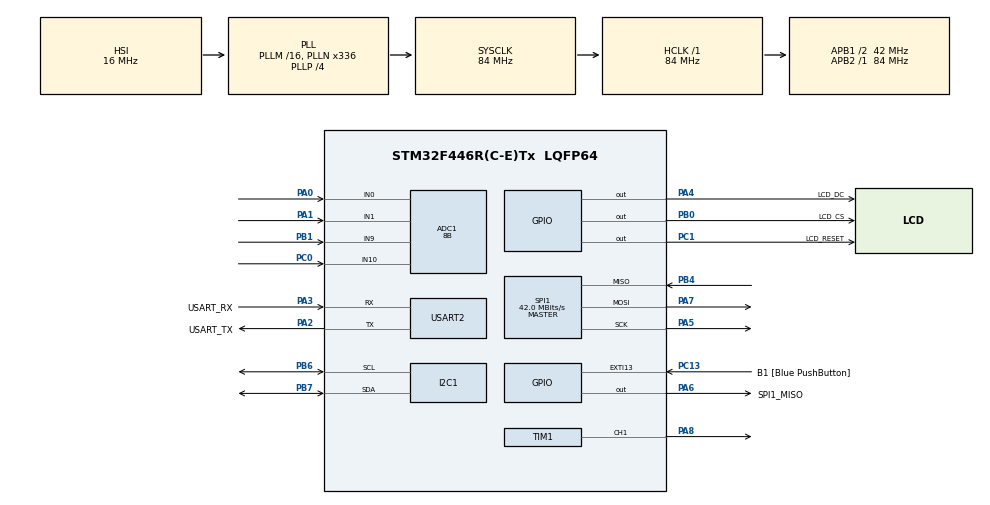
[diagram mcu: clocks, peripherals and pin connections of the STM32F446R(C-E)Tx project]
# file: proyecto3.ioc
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ADC1.Channel-5\#ChannelRegularConversion=ADC_CHANNEL_0
ADC1.Channel-6\#ChannelRegularConversion=ADC_CHANNEL_1
ADC1.Channel-7\#ChannelRegularConversion=ADC_CHANNEL_9
ADC1.Channel-8\#ChannelRegularConversion=ADC_CHANNEL_10
ADC1.NbrOfConversion=4
ADC1.NbrOfConversionFlag=1
ADC1.Rank-5\#ChannelRegularConversion=1
ADC1.Rank-6\#ChannelRegularConversion=2
ADC1.Rank-7\#ChannelRegularConversion=3
ADC1.Rank-8\#ChannelRegularConversion=4
ADC1.Resolution=ADC_RESOLUTION_8B
ADC1.SamplingTime-5\#ChannelRegularConversion=ADC_SAMPLETIME_15CYCLES
ADC1.SamplingTime-6\#ChannelRegularConversion=ADC_SAMPLETIME_15CYCLES
ADC1.SamplingTime-7\#ChannelRegularConversion=ADC_SAMPLETIME_15CYCLES
ADC1.SamplingTime-8\#ChannelRegularConversion=ADC_SAMPLETIME_15CYCLES
ADC1.ScanConvMode=ENABLE
ADC1.master=1
Dma.ADC1.1.Direction=DMA_PERIPH_TO_MEMORY
Dma.ADC1.1.FIFOMode=DMA_FIFOMODE_DISABLE
Dma.ADC1.1.Instance=DMA2_Stream0
Dma.ADC1.1.MemDataAlignment=DMA_MDATAALIGN_BYTE
Dma.ADC1.1.MemInc=DMA_MINC_ENABLE
Dma.ADC1.1.Mode=DMA_NORMAL
Dma.ADC1.1.PeriphDataAlignment=DMA_PDATAALIGN_BYTE
Dma.ADC1.1.PeriphInc=DMA_PINC_DISABLE
Dma.ADC1.1.Priority=DMA_PRIORITY_LOW
Dma.Request0=TIM1_CH1
Dma.Request1=ADC1
Dma.TIM1_CH1.0.Direction=DMA_MEMORY_TO_PERIPH
Dma.TIM1_CH1.0.FIFOMode=DMA_FIFOMODE_DISABLE
Dma.TIM1_CH1.0.Instance=DMA2_Stream1
Dma.TIM1_CH1.0.MemDataAlignment=DMA_MDATAALIGN_HALFWORD
Dma.TIM1_CH1.0.MemInc=DMA_MINC_ENABLE
Dma.TIM1_CH1.0.Mode=DMA_NORMAL
Dma.TIM1_CH1.0.PeriphDataAlignment=DMA_PDATAALIGN_HALFWORD
Dma.TIM1_CH1.0.PeriphInc=DMA_PINC_DISABLE
Dma.TIM1_CH1.0.Priority=DMA_PRIORITY_HIGH
I2C1.OwnAddress=0x27
Mcu.Family=STM32F4
Mcu.Name=STM32F446R(C-E)Tx
Mcu.Package=LQFP64
NVIC.DMA2_Stream0_IRQn=true\:0\:0\:false\:false\:true\:false\:true\:true
NVIC.DMA2_Stream1_IRQn=true\:0\:0\:false\:false\:true\:false\:true\:true
NVIC.I2C1_ER_IRQn=true\:0\:0\:false\:false\:true\:true\:true\:true
NVIC.I2C1_EV_IRQn=true\:0\:0\:false\:false\:true\:true\:true\:true
NVIC.PriorityGroup=NVIC_PRIORITYGROUP_0
PA0-WKUP.Signal=ADCx_IN0
PA1.Signal=ADCx_IN1
PA13.GPIO_Label=TMS
PA13.Mode=Serial_Wire
PA13.Signal=SYS_JTMS-SWDIO
PA14.GPIO_Label=TCK
PA14.Mode=Serial_Wire
PA14.Signal=SYS_JTCK-SWCLK
PA2.GPIO_Label=USART_TX
PA2.Mode=Asynchronous
PA2.Signal=USART2_TX
PA3.GPIO_Label=USART_RX
PA3.Mode=Asynchronous
PA3.Signal=USART2_RX
PA4.GPIO_Label=LCD_DC
PA4.Signal=GPIO_Output
PA5.Mode=Full_Duplex_Master
PA5.Signal=SPI1_SCK
PA6.GPIO_Label=SPI1_MISO
PA6.Signal=GPIO_Output
PA7.Mode=Full_Duplex_Master
PA7.Signal=SPI1_MOSI
PA8.Signal=S_TIM1_CH1
PB0.GPIO_Label=LCD_CS
PB0.Signal=GPIO_Output
PB1.Signal=ADCx_IN9
PB3.GPIO_Label=SWO
PB3.Signal=SYS_JTDO-SWO
PB4.Mode=Full_Duplex_Master
PB4.Signal=SPI1_MISO
PB6.GPIO_Pu=GPIO_PULLUP
PB6.Mode=I2C
PB6.Signal=I2C1_SCL
PB7.GPIO_Pu=GPIO_PULLUP
PB7.Mode=I2C
PB7.Signal=I2C1_SDA
PC0.Signal=ADCx_IN10
PC1.GPIO_Label=LCD_RESET
PC1.Signal=GPIO_Output
PC13.GPIO_Label=B1 [Blue PushButton]
PC13.GPIO_ModeDefaultEXTI=GPIO_MODE_IT_FALLING
PC13.Signal=GPXTI13
PC14-OSC32_IN.Mode=LSE-External-Oscillator
PC14-OSC32_IN.Signal=RCC_OSC32_IN
PC15-OSC32_OUT.Mode=LSE-External-Oscillator
PC15-OSC32_OUT.Signal=RCC_OSC32_OUT
PH0-OSC_IN.Mode=HSE-External-Oscillator
PH0-OSC_IN.Signal=RCC_OSC_IN
PH1-OSC_OUT.Mode=HSE-External-Oscillator
PH1-OSC_OUT.Signal=RCC_OSC_OUT
ProjectManager.HeapSize=0x200
ProjectManager.StackSize=0x400
ProjectManager.TargetToolchain=STM32CubeIDE
RCC.48MHZClocksFreq_Value=84000000
RCC.AHBFreq_Value=84000000
RCC.APB1CLKDivider=RCC_HCLK_DIV2
RCC.APB1Freq_Value=42000000
RCC.APB1TimFreq_Value=84000000
RCC.APB2Freq_Value=84000000
RCC.APB2TimFreq_Value=84000000
RCC.CortexFreq_Value=84000000
RCC.FLatency-AdvancedSettings=FLASH_LATENCY_2
RCC.HCLKFreq_Value=84000000
RCC.HSE_VALUE=8000000
RCC.HSI_VALUE=16000000
RCC.PLLN=336
RCC.PLLP=RCC_PLLP_DIV4
RCC.SYSCLKFreq_VALUE=84000000
RCC.SYSCLKSource=RCC_SYSCLKSOURCE_PLLCLK
RCC.USBFreq_Value=168000000
RCC.VCOOutputFreq_Value=336000000
SH.ADCx_IN0.0=ADC1_IN0,IN0
SH.ADCx_IN1.0=ADC1_IN1,IN1
SH.ADCx_IN10.0=ADC1_IN10,IN10
SH.ADCx_IN9.0=ADC1_IN9,IN9
SH.S_TIM1_CH1.0=TIM1_CH1,PWM Generation1 CH1
SPI1.CalculateBaudRate=42.0 MBits/s
SPI1.Direction=SPI_DIRECTION_2LINES
SPI1.Mode=SPI_MODE_MASTER
SPI1.VirtualType=VM_MASTER
TIM1.Channel-PWM\ Generation1\ CH1=TIM_CHANNEL_1
TIM1.Period=105-1
USART2.VirtualMode=VM_ASYNC
VP_TIM1_VS_ClockSourceINT.Mode=Internal
board=NUCLEO-F446RE

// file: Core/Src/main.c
/* USER CODE BEGIN Header */
/**
  ******************************************************************************
  * @file           : main.c
  * @brief          : Main program body
  ******************************************************************************
  * @attention
  *
  * Copyright (c) 2026 STMicroelectronics.
  * All rights reserved.
  *
  * This software is licensed under terms that can be found in the LICENSE file
  * in the root directory of this software component.
  * If no LICENSE file comes with this software, it is provided AS-IS.
  *
  ******************************************************************************
  */
/* USER CODE END Header */
#include "main.h"

/* USER CODE BEGIN Includes */
#include "ili9341.h"
#include "Neopixel.h"
#include "bitmaps.h"
#include <stdint.h>
#include <string.h>
#include <stdio.h>

/* USER CODE END Includes */

/* USER CODE BEGIN PD */
#define NUM_SPOTS 8
#define SPOTS_PER_ROW 4

#define CAR_W 48
#define CAR_H 80

#define GRID_X 5
#define GRID_Y 23
#define CELL_W 56
#define CELL_H 95

#define INDICATOR_X 247
#define INDICATOR_Y 70

#define BG_COLOR 0x10A2
#define ASPHALT_COLOR 0x528A
#define LINE_COLOR 0xFD20
#define TEXT_COLOR 0xFFFF
#define DIGIT_COLOR 0x07E0
#define DIGIT_BG 0x10A2

#define INDLED_G 0x07E0
#define INDLED_R 0xF800
#define INDLED_B 0x528A

#define INDLED_W 7
#define INDLED_H 7

/* USER CODE END PD */

ADC_HandleTypeDef hadc1;
DMA_HandleTypeDef hdma_adc1;

I2C_HandleTypeDef hi2c1;

SPI_HandleTypeDef hspi1;

TIM_HandleTypeDef htim1;
DMA_HandleTypeDef hdma_tim1_ch1;

UART_HandleTypeDef huart2;

/* USER CODE BEGIN PV */
uint8_t lecturas_sensores[4];
float brilloled = 50.0f;

static uint8_t spots_now[NUM_SPOTS]    = {0};
static uint8_t spots_drawn[NUM_SPOTS]  = {0xFF, 0xFF, 0xFF, 0xFF, 0xFF, 0xFF, 0xFF, 0xFF};
static uint8_t avail_drawn = 0xFF;

// Buffers para I2C
uint8_t aTxBuffer[4] = {0, 0, 0, 0}; // Estado de los 4 parqueos (0=Libre, 1=Ocupado)
uint8_t aRxBuffer[5] = {0};          // [0]=cmd ('S' o 'N'), [1..4]=estados del vecino
volatile uint8_t vecino_spots[4] = {0, 0, 0, 0}; // Spots del STM_7seg → idx 0..3 del TFT

/* USER CODE END PV */

void SystemClock_Config(void);
static void MX_GPIO_Init(void);
static void MX_DMA_Init(void);
static void MX_TIM1_Init(void);
static void MX_USART2_UART_Init(void);
static void MX_SPI1_Init(void);
static void MX_ADC1_Init(void);
static void MX_I2C1_Init(void);

/* USER CODE BEGIN 0 */
#define D_W 50      // Ancho de digito
#define D_H 90      // ALtura de digito
#define D_T 7       // Grosor de segmentos

static const uint8_t seg_table[10] = {
    0x3F, 0x06, 0x5B, 0x4F, 0x66,  // 0..4
    0x6D, 0x7D, 0x07, 0x7F, 0x6F   // 5..9
};

static void DrawStall(int idx)
{
    int row = idx / SPOTS_PER_ROW;
    int col = idx % SPOTS_PER_ROW;
    int x   = GRID_X + col * CELL_W;
    int y   = GRID_Y + row * CELL_H;

    if (spots_now[idx]) {
        // Parqueo ocupado con carro
    	if (idx >= 4){
			LCD_Sprite(x + (CELL_W - CAR_W)/2, y + (CELL_H - CAR_H)/2 + 10,
					CAR_W, CAR_H, car, 1, 0, 1, 0);
			FillRect(x + (CELL_W - INDLED_W)/2 - 5, y + 7,
					INDLED_W, INDLED_H, INDLED_B);
			FillRect(x + (CELL_W - INDLED_W)/2 + 5, y + 7,
					INDLED_W, INDLED_H, INDLED_R);
    	}else{
    		LCD_Sprite(x + (CELL_W - CAR_W)/2, y + (CELL_H - CAR_H)/2,
    				CAR_W, CAR_H, car, 1, 0, 0, 0);
			FillRect(x + (CELL_W - INDLED_W)/2 - 5, y + (CELL_H - INDLED_H) + 2,
					INDLED_W, INDLED_H, INDLED_B);
			FillRect(x + (CELL_W - INDLED_W)/2 + 5, y + (CELL_H - INDLED_H) + 2,
					INDLED_W, INDLED_H, INDLED_R);
    	}
    } else {
        // Rectangulo de parqueo libre
    	if (idx >= 4){
			FillRect(x + (CELL_W - CAR_W)/2, y + (CELL_H - CAR_H)/2 + 10,
					 CAR_W, CAR_H, ASPHALT_COLOR);

			FillRect(x + (CELL_W - INDLED_W)/2 - 5, y + 7,
					INDLED_W, INDLED_H, INDLED_G);
			FillRect(x + (CELL_W - INDLED_W)/2 + 5, y + 7,
					INDLED_W, INDLED_H, INDLED_B);
    	}else{
    		FillRect(x + (CELL_W - CAR_W)/2, y + (CELL_H - CAR_H)/2,
					 CAR_W, CAR_H, ASPHALT_COLOR);

			FillRect(x + (CELL_W - INDLED_W)/2 - 5, y + (CELL_H - INDLED_H) + 2,
					INDLED_W, INDLED_H, INDLED_G);
			FillRect(x + (CELL_W - INDLED_W)/2 + 5, y + (CELL_H - INDLED_H) + 2,
					INDLED_W, INDLED_H, INDLED_B);
    	}
    }
}

static void Draw7Seg(uint8_t digit)
{
    if (digit > 9) digit = 0;
    uint8_t s = seg_table[digit];
    int x = INDICATOR_X, y = INDICATOR_Y;
    int half = (D_H - 3*D_T) / 2;

    FillRect(x, y, D_W, D_H, DIGIT_BG);  // Eliminar anterior
    if (s & 0x01) FillRect(x+D_T,        y,                  D_W-2*D_T, D_T,  DIGIT_COLOR); // a
    if (s & 0x02) FillRect(x+D_W-D_T,    y+D_T,              D_T,       half, DIGIT_COLOR); // b
    if (s & 0x04) FillRect(x+D_W-D_T,    y+D_H/2+D_T/2,      D_T,       half, DIGIT_COLOR); // c
    if (s & 0x08) FillRect(x+D_T,        y+D_H-D_T,          D_W-2*D_T, D_T,  DIGIT_COLOR); // d
    if (s & 0x10) FillRect(x,            y+D_H/2+D_T/2,      D_T,       half, DIGIT_COLOR); // e
    if (s & 0x20) FillRect(x,            y+D_T,              D_T,       half, DIGIT_COLOR); // f
    if (s & 0x40) FillRect(x+D_T,        y+D_H/2-D_T/2,      D_W-2*D_T, D_T,  DIGIT_COLOR); // g
}

void Parking_DrawStaticUI(void)
{
    LCD_Clear(BG_COLOR);
    LCD_Print("Parqueo-matic", 70, 6, 1, TEXT_COLOR, BG_COLOR);
    LCD_Print("Libres", INDICATOR_X, INDICATOR_Y - 15, 1, TEXT_COLOR, BG_COLOR);

    // Separadores de parqueos
    for (int c = 1; c < SPOTS_PER_ROW; c++) {
        int x = GRID_X + c * CELL_W - 2;
        V_line(x+1, GRID_Y + 5, 2 * CELL_H, LINE_COLOR);
    }
}

void Parking_SetSpot(int idx, int occupied)
{
    if (idx < 0 || idx >= NUM_SPOTS) return;
    spots_now[idx] = occupied ? 1 : 0;
}

void Parking_Update(void)
{
    uint8_t free_count = 0;
    for (int i = 0; i < NUM_SPOTS; i++) {
        if (!spots_now[i]) free_count++;

        if (spots_now[i] != spots_drawn[i]) {
            DrawStall(i);
            spots_drawn[i] = spots_now[i];
        }
    }
    if (free_count != avail_drawn) {
        Draw7Seg(free_count);
        avail_drawn = free_count;
    }
}
/* USER CODE END 0 */

int main(void)
{

  /* MCU Configuration--------------------------------------------------------*/

  /* Reset of all peripherals, Initializes the Flash interface and the Systick. */
  HAL_Init();

  /* Configure the system clock */
  SystemClock_Config();

  /* Initialize all configured peripherals */
  MX_GPIO_Init();
  MX_DMA_Init();
  MX_TIM1_Init();
  MX_USART2_UART_Init();
  MX_SPI1_Init();
  MX_ADC1_Init();
  MX_I2C1_Init();
  /* USER CODE BEGIN 2 */
  HAL_ADC_Start_DMA(&hadc1, (uint32_t*)lecturas_sensores, 4);

  setBrightness(25);
  pixelClear();
  pixelShow();
  //HAL_Delay(1000);
  LCD_Init();
  LCD_Clear(0x10a2);
  LCD_Print("Parqueo-matic", 100, 6, 1, 0xFFFF, 0x10a2);

  HAL_I2C_EnableListen_IT(&hi2c1);

  Parking_DrawStaticUI();
  //HAL_Delay(1000);
  /* USER CODE END 2 */

  /* Infinite loop */
  /* USER CODE BEGIN WHILE */
  while (1)
  {
	  HAL_ADC_Start_DMA(&hadc1, (uint32_t*)lecturas_sensores, 4);
	  HAL_Delay(20);
	  HAL_ADC_Stop_DMA(&hadc1);
	  for(int i = 0; i < 4; i++) {
			if(lecturas_sensores[i] < 230) {
				// Valor menor a 230 -> Color VERDE
				setPixelColor(i, 0, 255, 0);
				aTxBuffer[i] = 0; // Se envía al ESP32 que está libre
			} else {
				// Valor mayor o igual a 230 -> Color ROJO
				setPixelColor(i, 255, 0, 0);
				aTxBuffer[i] = 1; // Se envía al ESP32 que está ocupado
			}
		}
	  pixelShow();

	  for (int i = 0; i < 4; i++){
		  Parking_SetSpot(i+4, lecturas_sensores[i] > 230);
	  }

	  for (int i = 0; i < 4; i++){
		  Parking_SetSpot(i, vecino_spots[i]);
	  }

	  Parking_Update();
	  HAL_Delay(50);
    /* USER CODE END WHILE */

  }
}

void SystemClock_Config(void)
{
  RCC_OscInitTypeDef RCC_OscInitStruct = {0};
  RCC_ClkInitTypeDef RCC_ClkInitStruct = {0};

  /** Configure the main internal regulator output voltage
  */
  __HAL_RCC_PWR_CLK_ENABLE();
  __HAL_PWR_VOLTAGESCALING_CONFIG(PWR_REGULATOR_VOLTAGE_SCALE3);

  /** Initializes the RCC Oscillators according to the specified parameters
  * in the RCC_OscInitTypeDef structure.
  */
  RCC_OscInitStruct.OscillatorType = RCC_OSCILLATORTYPE_HSI;
  RCC_OscInitStruct.HSIState = RCC_HSI_ON;
  RCC_OscInitStruct.HSICalibrationValue = RCC_HSICALIBRATION_DEFAULT;
  RCC_OscInitStruct.PLL.PLLState = RCC_PLL_ON;
  RCC_OscInitStruct.PLL.PLLSource = RCC_PLLSOURCE_HSI;
  RCC_OscInitStruct.PLL.PLLM = 16;
  RCC_OscInitStruct.PLL.PLLN = 336;
  RCC_OscInitStruct.PLL.PLLP = RCC_PLLP_DIV4;
  RCC_OscInitStruct.PLL.PLLQ = 2;
  RCC_OscInitStruct.PLL.PLLR = 2;
  if (HAL_RCC_OscConfig(&RCC_OscInitStruct) != HAL_OK)
  {
    Error_Handler();
  }

  /** Initializes the CPU, AHB and APB buses clocks
  */
  RCC_ClkInitStruct.ClockType = RCC_CLOCKTYPE_HCLK|RCC_CLOCKTYPE_SYSCLK
                              |RCC_CLOCKTYPE_PCLK1|RCC_CLOCKTYPE_PCLK2;
  RCC_ClkInitStruct.SYSCLKSource = RCC_SYSCLKSOURCE_PLLCLK;
  RCC_ClkInitStruct.AHBCLKDivider = RCC_SYSCLK_DIV1;
  RCC_ClkInitStruct.APB1CLKDivider = RCC_HCLK_DIV2;
  RCC_ClkInitStruct.APB2CLKDivider = RCC_HCLK_DIV1;

  if (HAL_RCC_ClockConfig(&RCC_ClkInitStruct, FLASH_LATENCY_2) != HAL_OK)
  {
    Error_Handler();
  }
}

static void MX_ADC1_Init(void)
{

  ADC_ChannelConfTypeDef sConfig = {0};

  /** Configure the global features of the ADC (Clock, Resolution, Data Alignment and number of conversion)
  */
  hadc1.Instance = ADC1;
  hadc1.Init.ClockPrescaler = ADC_CLOCK_SYNC_PCLK_DIV4;
  hadc1.Init.Resolution = ADC_RESOLUTION_8B;
  hadc1.Init.ScanConvMode = ENABLE;
  hadc1.Init.ContinuousConvMode = DISABLE;
  hadc1.Init.DiscontinuousConvMode = DISABLE;
  hadc1.Init.ExternalTrigConvEdge = ADC_EXTERNALTRIGCONVEDGE_NONE;
  hadc1.Init.ExternalTrigConv = ADC_SOFTWARE_START;
  hadc1.Init.DataAlign = ADC_DATAALIGN_RIGHT;
  hadc1.Init.NbrOfConversion = 4;
  hadc1.Init.DMAContinuousRequests = DISABLE;
  hadc1.Init.EOCSelection = ADC_EOC_SINGLE_CONV;
  if (HAL_ADC_Init(&hadc1) != HAL_OK)
  {
    Error_Handler();
  }

  /** Configure for the selected ADC regular channel its corresponding rank in the sequencer and its sample time.
  */
  sConfig.Channel = ADC_CHANNEL_0;
  sConfig.Rank = 1;
  sConfig.SamplingTime = ADC_SAMPLETIME_15CYCLES;
  if (HAL_ADC_ConfigChannel(&hadc1, &sConfig) != HAL_OK)
  {
    Error_Handler();
  }

  /** Configure for the selected ADC regular channel its corresponding rank in the sequencer and its sample time.
  */
  sConfig.Channel = ADC_CHANNEL_1;
  sConfig.Rank = 2;
  if (HAL_ADC_ConfigChannel(&hadc1, &sConfig) != HAL_OK)
  {
    Error_Handler();
  }

  /** Configure for the selected ADC regular channel its corresponding rank in the sequencer and its sample time.
  */
  sConfig.Channel = ADC_CHANNEL_9;
  sConfig.Rank = 3;
  if (HAL_ADC_ConfigChannel(&hadc1, &sConfig) != HAL_OK)
  {
    Error_Handler();
  }

  /** Configure for the selected ADC regular channel its corresponding rank in the sequencer and its sample time.
  */
  sConfig.Channel = ADC_CHANNEL_10;
  sConfig.Rank = 4;
  if (HAL_ADC_ConfigChannel(&hadc1, &sConfig) != HAL_OK)
  {
    Error_Handler();
  }

}

static void MX_I2C1_Init(void)
{

  hi2c1.Instance = I2C1;
  hi2c1.Init.ClockSpeed = 100000;
  hi2c1.Init.DutyCycle = I2C_DUTYCYCLE_2;
  hi2c1.Init.OwnAddress1 = 78;
  hi2c1.Init.AddressingMode = I2C_ADDRESSINGMODE_7BIT;
  hi2c1.Init.DualAddressMode = I2C_DUALADDRESS_DISABLE;
  hi2c1.Init.OwnAddress2 = 0;
  hi2c1.Init.GeneralCallMode = I2C_GENERALCALL_DISABLE;
  hi2c1.Init.NoStretchMode = I2C_NOSTRETCH_DISABLE;
  if (HAL_I2C_Init(&hi2c1) != HAL_OK)
  {
    Error_Handler();
  }

}

static void MX_SPI1_Init(void)
{

  /* SPI1 parameter configuration*/
  hspi1.Instance = SPI1;
  hspi1.Init.Mode = SPI_MODE_MASTER;
  hspi1.Init.Direction = SPI_DIRECTION_2LINES;
  hspi1.Init.DataSize = SPI_DATASIZE_8BIT;
  hspi1.Init.CLKPolarity = SPI_POLARITY_LOW;
  hspi1.Init.CLKPhase = SPI_PHASE_1EDGE;
  hspi1.Init.NSS = SPI_NSS_SOFT;
  hspi1.Init.BaudRatePrescaler = SPI_BAUDRATEPRESCALER_2;
  hspi1.Init.FirstBit = SPI_FIRSTBIT_MSB;
  hspi1.Init.TIMode = SPI_TIMODE_DISABLE;
  hspi1.Init.CRCCalculation = SPI_CRCCALCULATION_DISABLE;
  hspi1.Init.CRCPolynomial = 10;
  if (HAL_SPI_Init(&hspi1) != HAL_OK)
  {
    Error_Handler();
  }

}

static void MX_TIM1_Init(void)
{

  TIM_ClockConfigTypeDef sClockSourceConfig = {0};
  TIM_MasterConfigTypeDef sMasterConfig = {0};
  TIM_OC_InitTypeDef sConfigOC = {0};
  TIM_BreakDeadTimeConfigTypeDef sBreakDeadTimeConfig = {0};

  htim1.Instance = TIM1;
  htim1.Init.Prescaler = 0;
  htim1.Init.CounterMode = TIM_COUNTERMODE_UP;
  htim1.Init.Period = 105-1;
  htim1.Init.ClockDivision = TIM_CLOCKDIVISION_DIV1;
  htim1.Init.RepetitionCounter = 0;
  htim1.Init.AutoReloadPreload = TIM_AUTORELOAD_PRELOAD_DISABLE;
  if (HAL_TIM_Base_Init(&htim1) != HAL_OK)
  {
    Error_Handler();
  }
  sClockSourceConfig.ClockSource = TIM_CLOCKSOURCE_INTERNAL;
  if (HAL_TIM_ConfigClockSource(&htim1, &sClockSourceConfig) != HAL_OK)
  {
    Error_Handler();
  }
  if (HAL_TIM_PWM_Init(&htim1) != HAL_OK)
  {
    Error_Handler();
  }
  sMasterConfig.MasterOutputTrigger = TIM_TRGO_RESET;
  sMasterConfig.MasterSlaveMode = TIM_MASTERSLAVEMODE_DISABLE;
  if (HAL_TIMEx_MasterConfigSynchronization(&htim1, &sMasterConfig) != HAL_OK)
  {
    Error_Handler();
  }
  sConfigOC.OCMode = TIM_OCMODE_PWM1;
  sConfigOC.Pulse = 0;
  sConfigOC.OCPolarity = TIM_OCPOLARITY_HIGH;
  sConfigOC.OCNPolarity = TIM_OCNPOLARITY_HIGH;
  sConfigOC.OCFastMode = TIM_OCFAST_DISABLE;
  sConfigOC.OCIdleState = TIM_OCIDLESTATE_RESET;
  sConfigOC.OCNIdleState = TIM_OCNIDLESTATE_RESET;
  if (HAL_TIM_PWM_ConfigChannel(&htim1, &sConfigOC, TIM_CHANNEL_1) != HAL_OK)
  {
    Error_Handler();
  }
  sBreakDeadTimeConfig.OffStateRunMode = TIM_OSSR_DISABLE;
  sBreakDeadTimeConfig.OffStateIDLEMode = TIM_OSSI_DISABLE;
  sBreakDeadTimeConfig.LockLevel = TIM_LOCKLEVEL_OFF;
  sBreakDeadTimeConfig.DeadTime = 0;
  sBreakDeadTimeConfig.BreakState = TIM_BREAK_DISABLE;
  sBreakDeadTimeConfig.BreakPolarity = TIM_BREAKPOLARITY_HIGH;
  sBreakDeadTimeConfig.AutomaticOutput = TIM_AUTOMATICOUTPUT_DISABLE;
  if (HAL_TIMEx_ConfigBreakDeadTime(&htim1, &sBreakDeadTimeConfig) != HAL_OK)
  {
    Error_Handler();
  }
  HAL_TIM_MspPostInit(&htim1);

}

static void MX_USART2_UART_Init(void)
{

  huart2.Instance = USART2;
  huart2.Init.BaudRate = 115200;
  huart2.Init.WordLength = UART_WORDLENGTH_8B;
  huart2.Init.StopBits = UART_STOPBITS_1;
  huart2.Init.Parity = UART_PARITY_NONE;
  huart2.Init.Mode = UART_MODE_TX_RX;
  huart2.Init.HwFlowCtl = UART_HWCONTROL_NONE;
  huart2.Init.OverSampling = UART_OVERSAMPLING_16;
  if (HAL_UART_Init(&huart2) != HAL_OK)
  {
    Error_Handler();
  }

}

static void MX_DMA_Init(void)
{

  /* DMA controller clock enable */
  __HAL_RCC_DMA2_CLK_ENABLE();

  /* DMA interrupt init */
  /* DMA2_Stream0_IRQn interrupt configuration */
  HAL_NVIC_SetPriority(DMA2_Stream0_IRQn, 0, 0);
  HAL_NVIC_EnableIRQ(DMA2_Stream0_IRQn);
  /* DMA2_Stream1_IRQn interrupt configuration */
  HAL_NVIC_SetPriority(DMA2_Stream1_IRQn, 0, 0);
  HAL_NVIC_EnableIRQ(DMA2_Stream1_IRQn);

}

static void MX_GPIO_Init(void)
{
  GPIO_InitTypeDef GPIO_InitStruct = {0};

  /* GPIO Ports Clock Enable */
  __HAL_RCC_GPIOC_CLK_ENABLE();
  __HAL_RCC_GPIOH_CLK_ENABLE();
  __HAL_RCC_GPIOA_CLK_ENABLE();
  __HAL_RCC_GPIOB_CLK_ENABLE();

  /*Configure GPIO pin Output Level */
  HAL_GPIO_WritePin(LCD_RESET_GPIO_Port, LCD_RESET_Pin, GPIO_PIN_RESET);

  /*Configure GPIO pin Output Level */
  HAL_GPIO_WritePin(GPIOA, LCD_DC_Pin|SPI1_MISO_Pin, GPIO_PIN_RESET);

  /*Configure GPIO pin Output Level */
  HAL_GPIO_WritePin(LCD_CS_GPIO_Port, LCD_CS_Pin, GPIO_PIN_RESET);

  /*Configure GPIO pin : B1_Pin */
  GPIO_InitStruct.Pin = B1_Pin;
  GPIO_InitStruct.Mode = GPIO_MODE_IT_FALLING;
  GPIO_InitStruct.Pull = GPIO_NOPULL;
  HAL_GPIO_Init(B1_GPIO_Port, &GPIO_InitStruct);

  /*Configure GPIO pin : LCD_RESET_Pin */
  GPIO_InitStruct.Pin = LCD_RESET_Pin;
  GPIO_InitStruct.Mode = GPIO_MODE_OUTPUT_PP;
  GPIO_InitStruct.Pull = GPIO_NOPULL;
  GPIO_InitStruct.Speed = GPIO_SPEED_FREQ_LOW;
  HAL_GPIO_Init(LCD_RESET_GPIO_Port, &GPIO_InitStruct);

  /*Configure GPIO pins : LCD_DC_Pin SPI1_MISO_Pin */
  GPIO_InitStruct.Pin = LCD_DC_Pin|SPI1_MISO_Pin;
  GPIO_InitStruct.Mode = GPIO_MODE_OUTPUT_PP;
  GPIO_InitStruct.Pull = GPIO_NOPULL;
  GPIO_InitStruct.Speed = GPIO_SPEED_FREQ_LOW;
  HAL_GPIO_Init(GPIOA, &GPIO_InitStruct);

  /*Configure GPIO pin : LCD_CS_Pin */
  GPIO_InitStruct.Pin = LCD_CS_Pin;
  GPIO_InitStruct.Mode = GPIO_MODE_OUTPUT_PP;
  GPIO_InitStruct.Pull = GPIO_NOPULL;
  GPIO_InitStruct.Speed = GPIO_SPEED_FREQ_LOW;
  HAL_GPIO_Init(LCD_CS_GPIO_Port, &GPIO_InitStruct);

  /* USER CODE BEGIN MX_GPIO_Init_2 */
  /* LCD control pins: CS (PB0), DC (PA4), RESET (PC1) */
  HAL_GPIO_WritePin(LCD_CS_GPIO_Port,    LCD_CS_Pin,    GPIO_PIN_SET);
  HAL_GPIO_WritePin(LCD_DC_GPIO_Port,    LCD_DC_Pin,    GPIO_PIN_SET);
  HAL_GPIO_WritePin(LCD_RESET_GPIO_Port, LCD_RESET_Pin, GPIO_PIN_SET);

  GPIO_InitStruct.Pin   = LCD_CS_Pin;
  GPIO_InitStruct.Mode  = GPIO_MODE_OUTPUT_PP;
  GPIO_InitStruct.Pull  = GPIO_NOPULL;
  GPIO_InitStruct.Speed = GPIO_SPEED_FREQ_MEDIUM;
  HAL_GPIO_Init(LCD_CS_GPIO_Port, &GPIO_InitStruct);

  GPIO_InitStruct.Pin   = LCD_DC_Pin;
  HAL_GPIO_Init(LCD_DC_GPIO_Port, &GPIO_InitStruct);

  GPIO_InitStruct.Pin   = LCD_RESET_Pin;
  HAL_GPIO_Init(LCD_RESET_GPIO_Port, &GPIO_InitStruct);
  /* USER CODE END MX_GPIO_Init_2 */
}

/* USER CODE BEGIN 4 */

void HAL_I2C_ListenCpltCallback(I2C_HandleTypeDef *hi2c){
    HAL_I2C_EnableListen_IT(hi2c);
}

void HAL_I2C_AddrCallback(I2C_HandleTypeDef *hi2c, uint8_t TransferDirection, uint16_t AddrMatchCode){
    if(TransferDirection == I2C_DIRECTION_TRANSMIT){
        // El Maestro (ESP32) quiere transmitir, la STM32 debe RECIBIR
        HAL_I2C_Slave_Seq_Receive_IT(hi2c, (uint8_t *) aRxBuffer, 5, I2C_FIRST_AND_LAST_FRAME);
    } else if (TransferDirection == I2C_DIRECTION_RECEIVE){
        // El Maestro (ESP32) quiere recibir, la STM32 debe TRANSMITIR
        HAL_I2C_Slave_Seq_Transmit_IT(hi2c, (uint8_t *) aTxBuffer, 4, I2C_FIRST_AND_LAST_FRAME);
    }
}

void HAL_I2C_SlaveRxCpltCallback(I2C_HandleTypeDef *hi2c){
    if (aRxBuffer[0] == 'N') {
        for (int i = 0; i < 4; i++) vecino_spots[i] = aRxBuffer[i + 1];
    }
    // 'S' → no action; padding bytes ignored
    aRxBuffer[0] = 0x00;
}

void HAL_I2C_ErrorCallback(I2C_HandleTypeDef *hi2c){
    // Quitamos la trampa del Error_Handler.
    // Ahora, si hay un fallo de comunicación, simplemente reactiva la escucha.
    HAL_I2C_EnableListen_IT(hi2c);
}

/* USER CODE END 4 */

void Error_Handler(void)
{
  __disable_irq();
  while (1)
  {
  }
}
